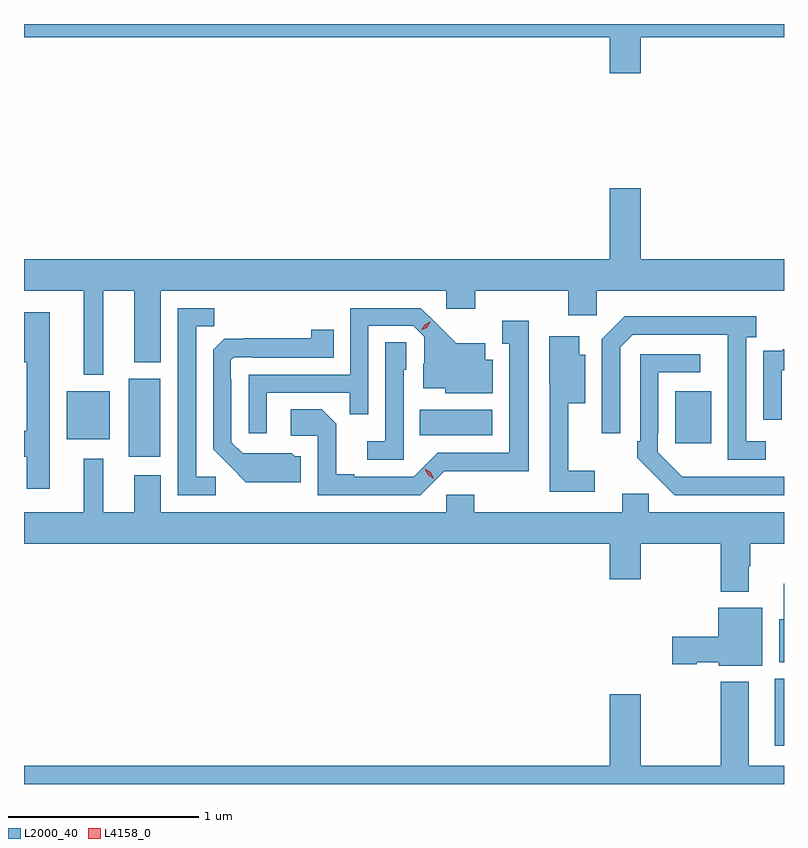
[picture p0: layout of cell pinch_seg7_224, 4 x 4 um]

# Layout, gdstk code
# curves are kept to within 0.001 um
import gdstk
lib = gdstk.Library(unit=1e-6, precision=1e-09)
def R(c, l, rs):  # rectangles x0, y0, x1, y1
    for r in rs: c.add(gdstk.rectangle(r[:2], r[2:], *l))
def P(c, l, *ps):  # polygons
    for p in ps: c.add(gdstk.Polygon(p, *l))
L2000_40 = (2000, 40)
L4158_0 = (4158, 0)

pinch_seg7_224 = lib.new_cell('pinch_seg7_224')
R(pinch_seg7_224, L2000_40, [(861.179,1002.216,861.229,1002.568), (857.78,1003.737,857.947,1004.149), (860.657,1003.809,860.845,1004.083), (857.453,1003.829,857.68,1004.083), (859.312,1003.85,859.693,1003.984)])
P(pinch_seg7_224, L2000_40, [(860.476,1005.944),(861.229,1005.944),(861.229,1006.015),(857.229,1006.015),(857.229,1005.944),(860.312,1005.944),(860.312,1005.756),(860.476,1005.756)],
  [(857.647,1004.612),(857.81,1004.612),(857.81,1004.234),(857.95,1004.234),(857.95,1004.612),(859.452,1004.612),(859.452,1004.517),(859.604,1004.517),(859.604,1004.612),(860.093,1004.612),(860.093,1004.481),(860.244,1004.481),(860.244,1004.612),(861.229,1004.612),(861.229,1004.776),(860.476,1004.776),(860.476,1005.151),(860.312,1005.151),(860.312,1004.776),(857.229,1004.776),(857.229,1004.612),(857.543,1004.612),(857.543,1004.168),(857.647,1004.168)],
  [(858.507,1004.073),(858.943,1004.073),(858.943,1003.96),(859.041,1003.96),(859.041,1004.427),(859.278,1004.427),(859.335,1004.37),(859.335,1004.228),(859.331,1004.228),(859.331,1004.099),(859.446,1004.099),(859.446,1004.072),(859.696,1004.072),(859.696,1004.248),(859.657,1004.248),(859.657,1004.335),(859.505,1004.335),(859.318,1004.52),(858.945,1004.52),(858.945,1004.169),(858.411,1004.169),(858.411,1003.86),(858.507,1003.86)],
  [(858.238,1003.632),(858.135,1003.632),(858.135,1004.425),(858.231,1004.425),(858.231,1004.52),(858.039,1004.52),(858.039,1003.536),(858.238,1003.536)],
  [(857.365,1004.497),(857.229,1004.497),(857.229,1004.234),(857.244,1004.234),(857.244,1003.875),(857.229,1003.875),(857.229,1003.738),(857.244,1003.738),(857.244,1003.569),(857.365,1003.569)],
  [(861.133,1003.818),(861.03,1003.818),(861.03,1004.366),(861.082,1004.366),(861.082,1004.476),(860.392,1004.476),(860.271,1004.355),(860.271,1003.86),(860.367,1003.86),(860.367,1004.313),(860.433,1004.379),(860.933,1004.379),(860.934,1003.722),(861.133,1003.722)],
  [(859.44,1003.662),(859.885,1003.661),(859.885,1004.452),(859.745,1004.452),(859.745,1004.331),(859.784,1004.331),(859.784,1003.758),(859.407,1003.758),(859.281,1003.632),(858.967,1003.632),(858.967,1003.645),(858.873,1003.645),(858.873,1003.912),(858.797,1003.988),(858.633,1003.988),(858.633,1003.848),(858.774,1003.848),(858.774,1003.536),(859.314,1003.536)],
  [(858.685,1003.74),(858.654,1003.74),(858.638,1003.756),(858.381,1003.755),(858.321,1003.815),(858.321,1004.144),(858.318,1004.144),(858.318,1004.244),(858.336,1004.262),(858.436,1004.262),(858.436,1004.259),(858.86,1004.259),(858.86,1004.407),(858.742,1004.407),(858.742,1004.36),(858.284,1004.359),(858.225,1004.3),(858.225,1003.778),(858.397,1003.604),(858.685,1003.604)],
  [(860.233,1003.663),(860.093,1003.663),(860.093,1004.018),(860.182,1004.018),(860.182,1004.275),(860.152,1004.275),(860.152,1004.371),(859.994,1004.371),(859.994,1004.122),(859.995,1004.122),(859.995,1003.554),(860.233,1003.554)],
  [(859.227,1004.196),(859.242,1004.196),(859.242,1004.339),(859.131,1004.339),(859.131,1003.819),(859.035,1003.819),(859.035,1003.722),(859.227,1003.722)],
  [(861.216,1004.193),(861.229,1004.193),(861.229,1004.302),(861.223,1004.302),(861.223,1004.295),(861.121,1004.295),(861.121,1004.186),(861.12,1004.186),(861.12,1003.932),(861.216,1003.932)],
  [(861.229,1003.632),(860.694,1003.633),(860.565,1003.761),(860.565,1003.861),(860.568,1003.861),(860.568,1004.181),(860.788,1004.181),(860.788,1004.277),(860.472,1004.277),(860.472,1003.819),(860.457,1003.819),(860.457,1003.731),(860.654,1003.536),(861.229,1003.536)],
  [(861.043,1003.16),(861.051,1003.16),(861.051,1003.28),(861.229,1003.28),(861.229,1003.444),(860.517,1003.444),(860.517,1003.542),(860.378,1003.542),(860.378,1003.444),(859.599,1003.444),(859.599,1003.537),(859.452,1003.537),(859.452,1003.444),(857.95,1003.444),(857.95,1003.639),(857.81,1003.639),(857.81,1003.444),(857.647,1003.444),(857.647,1003.726),(857.543,1003.726),(857.543,1003.444),(857.229,1003.444),(857.229,1003.28),(860.312,1003.28),(860.312,1003.092),(860.476,1003.092),(860.476,1003.28),(860.896,1003.28),(860.896,1003.028),(861.043,1003.028)],
  [(861.229,1003.069),(861.227,1003.069),(861.227,1002.882),(861.203,1002.882),(861.203,1002.656),(861.229,1002.656)],
  [(861.115,1002.943),(860.882,1002.943),(860.882,1002.791),(860.64,1002.791),(860.64,1002.644),(860.769,1002.644),(860.769,1002.656),(860.886,1002.656),(860.886,1002.638),(861.115,1002.638)],
  [(860.476,1002.487),(860.312,1002.487),(860.312,1002.112),(857.229,1002.112),(857.229,1002.015),(861.229,1002.015),(861.229,1002.112),(861.043,1002.112),(861.043,1002.553),(860.896,1002.553),(860.896,1002.112),(860.476,1002.112)])
P(pinch_seg7_224, L4158_0, [(859.386,1003.622),(859.354,1003.642),(859.337,1003.674),(859.337,1003.675),(859.337,1003.675),(859.369,1003.655),(859.386,1003.623),(859.386,1003.622)],
  [(859.32,1004.402),(859.32,1004.402),(859.337,1004.432),(859.368,1004.447),(859.368,1004.447),(859.368,1004.446),(859.35,1004.417),(859.32,1004.402)])

lib.write_gds('pinch_seg7_224.gds')
